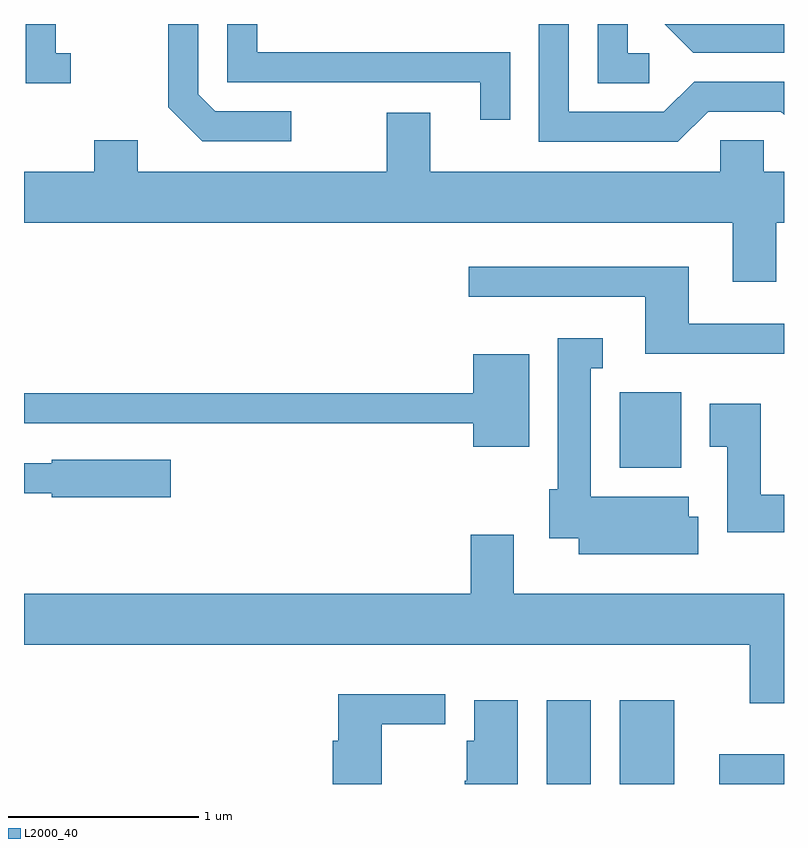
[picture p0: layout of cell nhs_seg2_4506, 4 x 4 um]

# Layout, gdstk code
import gdstk
lib = gdstk.Library(unit=1e-6, precision=1e-09)
def R(c, l, rs):  # rectangles x0, y0, x1, y1
    for r in rs: c.add(gdstk.rectangle(r[:2], r[2:], *l))
def P(c, l, *ps):  # polygons
    for p in ps: c.add(gdstk.Polygon(p, *l))
L2000_40 = (2000, 40)

nhs_seg2_4506 = lib.new_cell('nhs_seg2_4506')
R(nhs_seg2_4506, L2000_40, [(320.361,1049.802,320.594,1050.244), (320.746,1049.802,321.034,1050.244), (321.271,1049.802,321.611,1049.959), (320.746,1051.466,321.069,1051.864)])
P(nhs_seg2_4506, L2000_40, [(321.212,1053.341),(321.594,1053.341),(321.611,1053.324),(321.611,1053.499),(321.139,1053.499),(320.979,1053.339),(320.479,1053.339),(320.479,1053.802),(320.321,1053.802),(320.321,1053.181),(321.052,1053.181)],
  [(320.169,1053.654),(318.839,1053.654),(318.839,1053.802),(318.681,1053.802),(318.681,1053.496),(320.011,1053.496),(320.011,1053.298),(320.169,1053.298)],
  [(320.903,1053.649),(320.789,1053.649),(320.789,1053.802),(320.631,1053.802),(320.631,1053.491),(320.903,1053.491)],
  [(321.611,1053.802),(320.983,1053.802),(321.134,1053.651),(321.611,1053.651)],
  [(319.018,1053.344),(318.617,1053.344),(318.529,1053.432),(318.529,1053.802),(318.371,1053.802),(318.371,1053.364),(318.549,1053.186),(319.018,1053.186)],
  [(317.858,1053.649),(317.779,1053.649),(317.779,1053.802),(317.621,1053.802),(317.621,1053.491),(317.858,1053.491)],
  [(321.569,1052.756),(321.611,1052.756),(321.611,1053.024),(321.504,1053.024),(321.504,1053.189),(321.276,1053.189),(321.276,1053.024),(319.749,1053.024),(319.749,1053.334),(319.521,1053.334),(319.521,1053.024),(318.209,1053.024),(318.209,1053.189),(317.981,1053.189),(317.981,1053.024),(317.611,1053.024),(317.611,1052.756),(321.341,1052.756),(321.341,1052.446),(321.569,1052.446)],
  [(321.611,1052.224),(321.109,1052.224),(321.109,1052.524),(319.953,1052.524),(319.953,1052.366),(320.881,1052.366),(320.881,1052.066),(321.611,1052.066)],
  [(321.159,1051.209),(321.109,1051.209),(321.109,1051.314),(320.594,1051.314),(320.594,1051.991),(320.658,1051.991),(320.658,1052.149),(320.421,1052.149),(320.421,1051.354),(320.376,1051.354),(320.376,1051.096),(320.531,1051.096),(320.531,1051.011),(321.159,1051.011)],
  [(320.269,1052.064),(319.976,1052.064),(319.976,1051.859),(317.611,1051.859),(317.611,1051.701),(319.976,1051.701),(319.976,1051.576),(320.269,1051.576)],
  [(321.611,1051.324),(321.489,1051.324),(321.489,1051.804),(321.221,1051.804),(321.221,1051.576),(321.311,1051.576),(321.311,1051.126),(321.611,1051.126)],
  [(318.384,1051.509),(317.756,1051.509),(317.756,1051.489),(317.611,1051.489),(317.611,1051.331),(317.756,1051.331),(317.756,1051.311),(318.384,1051.311)],
  [(321.611,1050.804),(320.189,1050.804),(320.189,1051.114),(319.961,1051.114),(319.961,1050.804),(317.611,1050.804),(317.611,1050.536),(321.431,1050.536),(321.431,1050.226),(321.611,1050.226)],
  [(319.494,1050.116),(319.828,1050.116),(319.828,1050.274),(319.266,1050.274),(319.266,1050.029),(319.236,1050.029),(319.236,1049.802),(319.494,1049.802)],
  [(320.209,1050.244),(319.981,1050.244),(319.981,1050.029),(319.941,1050.029),(319.941,1049.82),(319.931,1049.82),(319.931,1049.802),(320.209,1049.802)])

lib.write_gds('nhs_seg2_4506.gds')
